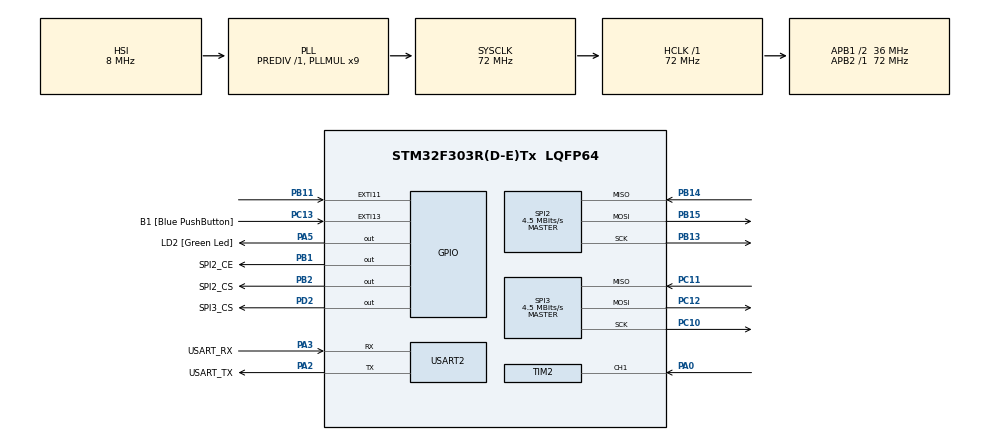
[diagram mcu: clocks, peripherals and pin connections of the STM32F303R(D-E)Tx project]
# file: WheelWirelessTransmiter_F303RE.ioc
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Dma.Request0=SPI2_TX
Dma.Request1=SPI2_RX
Dma.Request2=SPI3_RX
Dma.Request3=SPI3_TX
Dma.SPI2_RX.1.Direction=DMA_PERIPH_TO_MEMORY
Dma.SPI2_RX.1.Instance=DMA1_Channel4
Dma.SPI2_RX.1.MemDataAlignment=DMA_MDATAALIGN_BYTE
Dma.SPI2_RX.1.MemInc=DMA_MINC_ENABLE
Dma.SPI2_RX.1.Mode=DMA_NORMAL
Dma.SPI2_RX.1.PeriphDataAlignment=DMA_PDATAALIGN_BYTE
Dma.SPI2_RX.1.PeriphInc=DMA_PINC_DISABLE
Dma.SPI2_RX.1.Priority=DMA_PRIORITY_LOW
Dma.SPI2_TX.0.Direction=DMA_MEMORY_TO_PERIPH
Dma.SPI2_TX.0.Instance=DMA1_Channel5
Dma.SPI2_TX.0.MemDataAlignment=DMA_MDATAALIGN_BYTE
Dma.SPI2_TX.0.MemInc=DMA_MINC_ENABLE
Dma.SPI2_TX.0.Mode=DMA_NORMAL
Dma.SPI2_TX.0.PeriphDataAlignment=DMA_PDATAALIGN_BYTE
Dma.SPI2_TX.0.PeriphInc=DMA_PINC_DISABLE
Dma.SPI2_TX.0.Priority=DMA_PRIORITY_LOW
Dma.SPI3_RX.2.Direction=DMA_PERIPH_TO_MEMORY
Dma.SPI3_RX.2.Instance=DMA2_Channel1
Dma.SPI3_RX.2.MemDataAlignment=DMA_MDATAALIGN_HALFWORD
Dma.SPI3_RX.2.MemInc=DMA_MINC_ENABLE
Dma.SPI3_RX.2.Mode=DMA_NORMAL
Dma.SPI3_RX.2.PeriphDataAlignment=DMA_PDATAALIGN_HALFWORD
Dma.SPI3_RX.2.PeriphInc=DMA_PINC_DISABLE
Dma.SPI3_RX.2.Priority=DMA_PRIORITY_LOW
Dma.SPI3_TX.3.Direction=DMA_MEMORY_TO_PERIPH
Dma.SPI3_TX.3.Instance=DMA2_Channel2
Dma.SPI3_TX.3.MemDataAlignment=DMA_MDATAALIGN_HALFWORD
Dma.SPI3_TX.3.MemInc=DMA_MINC_ENABLE
Dma.SPI3_TX.3.Mode=DMA_NORMAL
Dma.SPI3_TX.3.PeriphDataAlignment=DMA_PDATAALIGN_HALFWORD
Dma.SPI3_TX.3.PeriphInc=DMA_PINC_DISABLE
Dma.SPI3_TX.3.Priority=DMA_PRIORITY_LOW
Mcu.Family=STM32F3
Mcu.Name=STM32F303R(D-E)Tx
Mcu.Package=LQFP64
NVIC.DMA1_Channel4_IRQn=true\:0\:0\:false\:false\:true\:false\:true\:true
NVIC.DMA1_Channel5_IRQn=true\:0\:0\:false\:false\:true\:false\:true\:true
NVIC.DMA2_Channel1_IRQn=true\:0\:0\:false\:false\:true\:false\:true\:true
NVIC.DMA2_Channel2_IRQn=true\:0\:0\:false\:false\:true\:false\:true\:true
NVIC.PriorityGroup=NVIC_PRIORITYGROUP_0
NVIC.SPI2_IRQn=true\:0\:0\:false\:false\:true\:true\:true\:true
NVIC.SPI3_IRQn=true\:0\:0\:false\:false\:true\:true\:true\:true
NVIC.TIM2_IRQn=true\:0\:0\:false\:false\:true\:true\:true\:true
PA0.Signal=S_TIM2_CH1_ETR
PA13.GPIO_Label=TMS
PA13.Mode=Serial_Wire
PA13.Signal=SYS_JTMS-SWDIO
PA14.GPIO_Label=TCK
PA14.Mode=Serial_Wire
PA14.Signal=SYS_JTCK-SWCLK
PA2.GPIO_Label=USART_TX
PA2.GPIO_Mode=GPIO_MODE_AF_PP
PA2.GPIO_PuPd=GPIO_NOPULL
PA2.GPIO_Speed=GPIO_SPEED_FREQ_LOW
PA2.Mode=Asynchronous
PA2.Signal=USART2_TX
PA3.GPIO_Label=USART_RX
PA3.GPIO_Mode=GPIO_MODE_AF_PP
PA3.GPIO_PuPd=GPIO_NOPULL
PA3.GPIO_Speed=GPIO_SPEED_FREQ_LOW
PA3.Mode=Asynchronous
PA3.Signal=USART2_RX
PA5.GPIO_Label=LD2 [Green Led]
PA5.GPIO_Mode=GPIO_MODE_OUTPUT_PP
PA5.GPIO_PuPd=GPIO_NOPULL
PA5.GPIO_Speed=GPIO_SPEED_FREQ_LOW
PA5.Signal=GPIO_Output
PB1.GPIO_Label=SPI2_CE
PB1.GPIO_Speed=GPIO_SPEED_FREQ_HIGH
PB1.Signal=GPIO_Output
PB11.Signal=GPXTI11
PB13.Mode=Full_Duplex_Master
PB13.Signal=SPI2_SCK
PB14.Mode=Full_Duplex_Master
PB14.Signal=SPI2_MISO
PB15.Mode=Full_Duplex_Master
PB15.Signal=SPI2_MOSI
PB2.GPIO_Label=SPI2_CS
PB2.GPIO_Speed=GPIO_SPEED_FREQ_HIGH
PB2.Signal=GPIO_Output
PB3.GPIO_Label=SWO
PB3.Signal=SYS_JTDO-TRACESWO
PC10.Mode=Full_Duplex_Master
PC10.Signal=SPI3_SCK
PC11.Mode=Full_Duplex_Master
PC11.Signal=SPI3_MISO
PC12.Mode=Full_Duplex_Master
PC12.Signal=SPI3_MOSI
PC13.GPIO_Label=B1 [Blue PushButton]
PC13.GPIO_ModeDefaultEXTI=GPIO_MODE_IT_FALLING
PC13.Signal=GPXTI13
PC14-OSC32_IN.Mode=LSE-External-Oscillator
PC14-OSC32_IN.Signal=RCC_OSC32_IN
PC15-OSC32_OUT.Mode=LSE-External-Oscillator
PC15-OSC32_OUT.Signal=RCC_OSC32_OUT
PD2.GPIO_Label=SPI3_CS
PD2.GPIO_Speed=GPIO_SPEED_FREQ_HIGH
PD2.Signal=GPIO_Output
PF0-OSC_IN.Mode=HSE-External-Clock-Source
PF0-OSC_IN.Signal=RCC_OSC_IN
PF1-OSC_OUT.Signal=RCC_OSC_OUT
ProjectManager.HeapSize=0x200
ProjectManager.StackSize=0x400
ProjectManager.TargetToolchain=STM32CubeIDE
RCC.AHBFreq_Value=72000000
RCC.APB1CLKDivider=RCC_HCLK_DIV2
RCC.APB1Freq_Value=36000000
RCC.APB1TimFreq_Value=72000000
RCC.APB2Freq_Value=72000000
RCC.APB2TimFreq_Value=72000000
RCC.CortexFreq_Value=72000000
RCC.HCLKFreq_Value=72000000
RCC.HSE_VALUE=8000000
RCC.HSI_VALUE=8000000
RCC.PLLM=8
RCC.PLLMUL=RCC_PLL_MUL9
RCC.PLLN=336
RCC.PLLP=RCC_PLLP_DIV4
RCC.PLLQ=7
RCC.RCC_PLLsource_Clock_Source_FROM_HSE=RCC_HSE_PREDIV_DIV2
RCC.SYSCLKFreq_VALUE=72000000
RCC.SYSCLKSourceVirtual=RCC_SYSCLKSOURCE_PLLCLK
RCC.USBFreq_Value=72000000
SH.S_TIM2_CH1_ETR.0=TIM2_CH1,PWM_Input_1
SPI2.BaudRatePrescaler=SPI_BAUDRATEPRESCALER_8
SPI2.CalculateBaudRate=4.5 MBits/s
SPI2.DataSize=SPI_DATASIZE_8BIT
SPI2.Direction=SPI_DIRECTION_2LINES
SPI2.Mode=SPI_MODE_MASTER
SPI2.VirtualType=VM_MASTER
SPI3.BaudRatePrescaler=SPI_BAUDRATEPRESCALER_8
SPI3.CLKPhase=SPI_PHASE_2EDGE
SPI3.CalculateBaudRate=4.5 MBits/s
SPI3.DataSize=SPI_DATASIZE_16BIT
SPI3.Direction=SPI_DIRECTION_2LINES
SPI3.Mode=SPI_MODE_MASTER
SPI3.VirtualType=VM_MASTER
USART2.VirtualMode-Asynchronous=VM_ASYNC
VP_TIM2_VS_ClockSourceINT.Mode=Internal
board=NUCLEO-F303RE

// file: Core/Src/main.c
/* USER CODE BEGIN Header */
/**
  ******************************************************************************
  * @file           : main.c
  * @brief          : Main program body
  ******************************************************************************
  * @attention
  *
  * Copyright (c) 2024 STMicroelectronics.
  * All rights reserved.
  *
  * This software is licensed under terms that can be found in the LICENSE file
  * in the root directory of this software component.
  * If no LICENSE file comes with this software, it is provided AS-IS.
  *
  ******************************************************************************
  */
/* USER CODE END Header */
#include "main.h"
#include "dma.h"
#include "spi.h"
#include "tim.h"
#include "usart.h"
#include "gpio.h"

/* USER CODE BEGIN Includes */
#include "NRF24L01.h"
#include "AS5048A.h"
#include <math.h>
/* USER CODE END Includes */

/* USER CODE BEGIN PV */
uint8_t TxAddress[] = {0xEE,0xDD,0xCC,0xBB,0xAA};

uint16_t input16[16] = {1800, 1811, 1023, 900, 1900, 400, 1500, 1100, 1100, 1100, 1100, 1100, 1100, 1100, 1100, 1100};
uint8_t output8[32];
uint16_t value = 170;
uint8_t direction = 1;

uint32_t ICValue =0;
uint32_t Frequency = 0;
float Duty =0;

volatile float position = 0.0f;
volatile float last_position = 0.0f;
volatile float speed= 1023.0f;
const float max_position = 2000.0f;
const float max_rpm = 1000.0f;
const float max_speed = (max_rpm / 60.0f) * max_position;
const float dead_band = 2.0f;

/* USER CODE END PV */

void SystemClock_Config(void);
/* USER CODE BEGIN PFP */
void convert16to8(const uint16_t *input16, uint8_t *output8);
void convert8to16(const uint8_t *input8, uint16_t *output16);
uint16_t map_position_to_sbus(int32_t position);
uint16_t map_pwm_to_sbus(int32_t position);
float CalculateAngularSpeed(float current_position, float last_position, float delta_time);
float map(float x, float in_min, float in_max, float out_min, float out_max);
/* USER CODE END PFP */

/* USER CODE BEGIN 0 */

// Odczyt pozycji enkodera PWM
void HAL_TIM_IC_CaptureCallback(TIM_HandleTypeDef *htim)
{
	if(htim->Channel == HAL_TIM_ACTIVE_CHANNEL_1)
	{
		ICValue = HAL_TIM_ReadCapturedValue(htim, TIM_CHANNEL_1);
	}
	if(ICValue != 0)
	{
		Duty = (HAL_TIM_ReadCapturedValue(htim,  TIM_CHANNEL_2)*2000)/ICValue;
		Frequency = 72000000/ICValue;
	}
}

/* USER CODE END 0 */

int main(void)
{

  /* MCU Configuration--------------------------------------------------------*/

  /* Reset of all peripherals, Initializes the Flash interface and the Systick. */
  HAL_Init();

  /* Configure the system clock */
  SystemClock_Config();

  /* Initialize all configured peripherals */
  MX_GPIO_Init();
  MX_DMA_Init();
  MX_USART2_UART_Init();
  MX_SPI3_Init();
  MX_SPI2_Init();
  MX_TIM2_Init();
  /* USER CODE BEGIN 2 */
  NRF24_Init();
  NRF24_TxMode(TxAddress, 10);
  AS5048A_Init(&hspi3);
  HAL_TIM_IC_Start_IT(&htim2, TIM_CHANNEL_1);
  HAL_TIM_IC_Start(&htim2, TIM_CHANNEL_2);
  uint32_t last_tick = HAL_GetTick();
  uint32_t last_tick1 = HAL_GetTick();
  uint32_t last_tick2 = HAL_GetTick();
  /* USER CODE END 2 */

  /* Infinite loop */
  /* USER CODE BEGIN WHILE */
  while (1)
  {
	  // Symulacja 1 kanału SBUS
	  if (HAL_GetTick() - last_tick >= 5)
	  {
		  last_tick = HAL_GetTick();
		  if (direction == 1) {
					value++;
					if (value >= 1800) {
						direction = -1;
					}
				}
				else {
					value--;
					if (value <= 170) {
						direction = 1;
					}
				}
				input16[0] = value;
	  }
	  	//uint16_t position = AS5048A_GetRaw();
	  	//input16[1] = map_position_to_sbus(position);
	  	//input16[1] = map_pwm_to_sbus(Duty);
	  	//input16[1] = angular_velocity;

	  //Praca korby w trybie SPEED
	  if (HAL_GetTick() - last_tick1 >= 10)
		{
			last_tick1 = HAL_GetTick();
			position = Duty;
			if (fabs(position - last_position) > dead_band)
			{
				speed = CalculateAngularSpeed(position, last_position, 0.01f); // 10 ms
				last_position = position;
				input16[1] = (uint16_t)speed;
			}
			else
			{
				speed = 1023;
				input16[1] = (uint16_t)speed;
			}
		}

		// Transmisja nRF24
		if (HAL_GetTick() - last_tick2 >= 10)
		{
			last_tick2 = HAL_GetTick();
			convert16to8(input16, output8);
			NRF24_Transmit(output8);
		}
    /* USER CODE END WHILE */

  }
}

void SystemClock_Config(void)
{
  RCC_OscInitTypeDef RCC_OscInitStruct = {0};
  RCC_ClkInitTypeDef RCC_ClkInitStruct = {0};
  RCC_PeriphCLKInitTypeDef PeriphClkInit = {0};

  /** Initializes the RCC Oscillators according to the specified parameters
  * in the RCC_OscInitTypeDef structure.
  */
  RCC_OscInitStruct.OscillatorType = RCC_OSCILLATORTYPE_HSI;
  RCC_OscInitStruct.HSIState = RCC_HSI_ON;
  RCC_OscInitStruct.HSICalibrationValue = RCC_HSICALIBRATION_DEFAULT;
  RCC_OscInitStruct.PLL.PLLState = RCC_PLL_ON;
  RCC_OscInitStruct.PLL.PLLSource = RCC_PLLSOURCE_HSI;
  RCC_OscInitStruct.PLL.PLLMUL = RCC_PLL_MUL9;
  RCC_OscInitStruct.PLL.PREDIV = RCC_PREDIV_DIV1;
  if (HAL_RCC_OscConfig(&RCC_OscInitStruct) != HAL_OK)
  {
    Error_Handler();
  }

  /** Initializes the CPU, AHB and APB buses clocks
  */
  RCC_ClkInitStruct.ClockType = RCC_CLOCKTYPE_HCLK|RCC_CLOCKTYPE_SYSCLK
                              |RCC_CLOCKTYPE_PCLK1|RCC_CLOCKTYPE_PCLK2;
  RCC_ClkInitStruct.SYSCLKSource = RCC_SYSCLKSOURCE_PLLCLK;
  RCC_ClkInitStruct.AHBCLKDivider = RCC_SYSCLK_DIV1;
  RCC_ClkInitStruct.APB1CLKDivider = RCC_HCLK_DIV2;
  RCC_ClkInitStruct.APB2CLKDivider = RCC_HCLK_DIV1;

  if (HAL_RCC_ClockConfig(&RCC_ClkInitStruct, FLASH_LATENCY_2) != HAL_OK)
  {
    Error_Handler();
  }
  PeriphClkInit.PeriphClockSelection = RCC_PERIPHCLK_USART2|RCC_PERIPHCLK_TIM2;
  PeriphClkInit.Usart2ClockSelection = RCC_USART2CLKSOURCE_PCLK1;
  PeriphClkInit.Tim2ClockSelection = RCC_TIM2CLK_HCLK;
  if (HAL_RCCEx_PeriphCLKConfig(&PeriphClkInit) != HAL_OK)
  {
    Error_Handler();
  }
}

/* USER CODE BEGIN 4 */

void convert16to8(const uint16_t *input16, uint8_t *output8) {
    for (int i = 0; i < 16; ++i) {
        output8[2 * i] = (uint8_t)(input16[i] & 0x00FF);      // Dolny bajt
        output8[2 * i + 1] = (uint8_t)((input16[i] >> 8) & 0x00FF);  // Górny bajt
    }
}

void convert8to16(const uint8_t *input8, uint16_t *output16) {
    for (int i = 0; i < 16; ++i) {
        output16[i] = (uint16_t)input8[2 * i] | ((uint16_t)input8[2 * i + 1] << 8);
    }
}

uint16_t map_position_to_sbus(int32_t position) {
    // Zakresy wejściowy i wyjściowy
    int32_t input_min = 0;
    int32_t input_max = 16384;
    int32_t output_min = 192;
    int32_t output_max = 1792;

    // Mapowanie z użyciem proporcji
    int32_t sbus = output_min + ((position - input_min) * (output_max - output_min)) / (input_max - input_min);

    // Zwrócenie zmiennej sbus jako uint16_t
    return (uint16_t)sbus;
}

uint16_t map_pwm_to_sbus(int32_t position) {
    // Zakresy wejściowy i wyjściowy
    int32_t input_min = 0;
    int32_t input_max = 2000;
    int32_t output_min = 192;
    int32_t output_max = 1792;

    // Mapowanie z użyciem proporcji
    int32_t sbus = output_min + ((position - input_min) * (output_max - output_min)) / (input_max - input_min);

    // Zwrócenie zmiennej sbus jako uint16_t
    return (uint16_t)sbus;
}

float CalculateAngularSpeed(float current_position, float last_position, float delta_time) {
    float delta_position = current_position - last_position;

    if (delta_position > (max_position / 2)) {
        delta_position -= max_position;
    } else if (delta_position < -(max_position / 2)) {
        delta_position += max_position;
    }

    // Obliczenie prędkości kątowej
    float speed = delta_position / delta_time;

    // Ustaw prędkość zgodnie z kierunkiem zmiany position
    if (speed > 0) {
    	return map(speed, 0, max_speed, 1024, 1792);
    } else {
    	return map(speed, -max_speed, 0, 192, 1022);
    }
}

float map(float x, float in_min, float in_max, float out_min, float out_max) {
    return (x - in_min) * (out_max - out_min) / (in_max - in_min) + out_min;
}

/* USER CODE END 4 */

void Error_Handler(void)
{
  __disable_irq();
  while (1)
  {
  }
}
